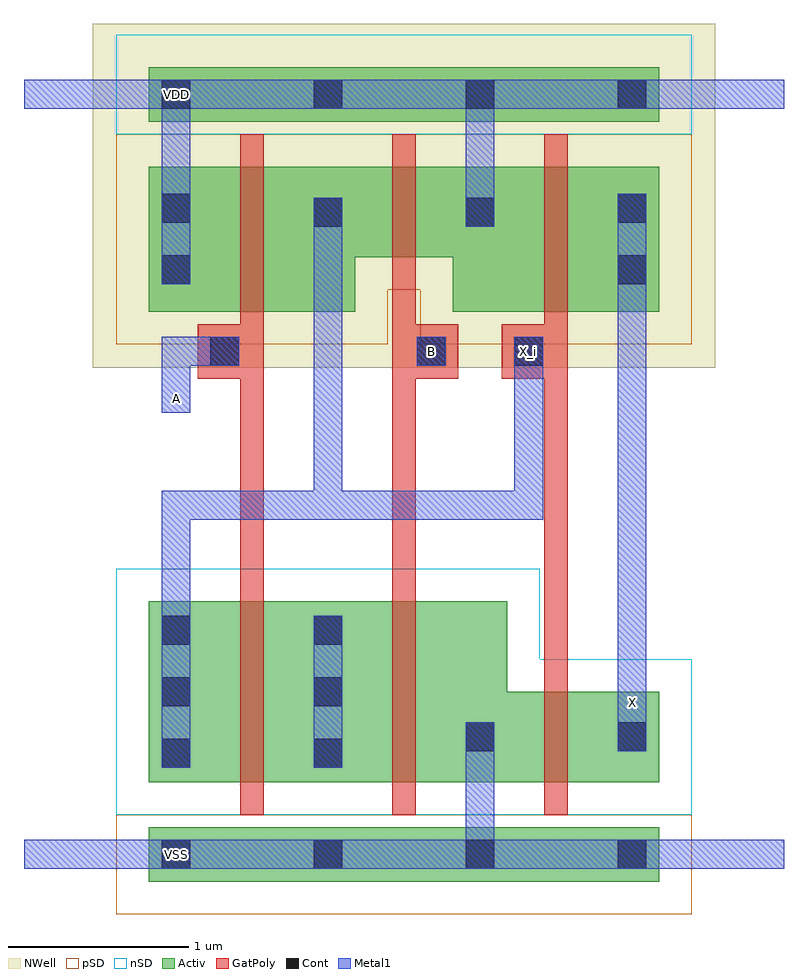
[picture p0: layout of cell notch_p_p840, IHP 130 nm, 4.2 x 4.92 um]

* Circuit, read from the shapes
.subckt notch_p_p840 A B VDD VSS X X_i
XM1 n1 A X_i VSS sg13_lv_nmos w=1u l=0.13u
XM2 VSS B n1 VSS sg13_lv_nmos w=1u l=0.13u
XM3 X X_i VSS VSS sg13_lv_nmos w=0.5u l=0.13u
XM4 X_i A VDD VDD sg13_lv_pmos w=0.8u l=0.13u
XM5 VDD B X_i VDD sg13_lv_pmos w=0.5u l=0.13u
XM6 X X_i VDD VDD sg13_lv_pmos w=0.8u l=0.13u
.ends

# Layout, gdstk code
import gdstk
lib = gdstk.Library(unit=1e-6, precision=1e-09)
def R(c, l, rs):  # rectangles x0, y0, x1, y1
    for r in rs: c.add(gdstk.rectangle(r[:2], r[2:], *l))
def A(c, l, x, y, w, h, nx, ny, dx, dy):  # array of equal rectangles
    R(c, l, [(x+i*dx, y+j*dy, x+i*dx+w, y+j*dy+h) for i in range(nx) for j in range(ny)])
Activ = (1, 0)
GatPoly = (5, 0)
Cont = (6, 0)
nSD = (7, 0)
Metal1 = (8, 0)
pSD = (14, 0)
NWell = (31, 0)

notch_p_p840 = lib.new_cell('notch_p_p840')
R(notch_p_p840, Activ, [(0.69,-0.15,3.51,0.15), (0.69,0.4,2.67,1.4), (2.37,0.4,3.51,0.9), (0.69,3,1.83,3.8), (2.37,3,3.51,3.8), (1.53,3.3,2.67,3.8), (0.69,4.05,3.51,4.35)])
A(notch_p_p840, GatPoly, 1.195, 0.22, 0.13, 3.76, 3, 1, 0.84, 0)
R(notch_p_p840, GatPoly, [(0.96,2.63,1.325,2.93), (2.035,2.63,2.4,2.93), (2.64,2.63,3.005,2.93)])
A(notch_p_p840, Cont, 0.76, -0.08, 0.16, 0.16, 4, 2, 0.84, 4.2)
A(notch_p_p840, Cont, 0.76, 0.48, 0.16, 0.16, 1, 3, 0, 0.34)
A(notch_p_p840, Cont, 1.6, 0.48, 0.16, 0.16, 1, 3, 0, 0.34)
R(notch_p_p840, Cont, [(2.44,0.57,2.6,0.73), (3.28,0.57,3.44,0.73), (1.03,2.7,1.19,2.86), (2.17,2.7,2.33,2.86), (2.71,2.7,2.87,2.86), (0.76,3.15,0.92,3.31), (3.28,3.15,3.44,3.31), (1.6,3.47,1.76,3.63), (2.44,3.47,2.6,3.63), (0.76,3.49,0.92,3.65), (3.28,3.49,3.44,3.65)])
R(notch_p_p840, nSD, [(0.51,0.22,2.85,1.58), (2.19,0.22,3.69,1.08), (0.51,3.98,3.69,4.53)])
R(notch_p_p840, Metal1, [(0,-0.08,4.2,0.08), (0.76,-0.08,3.44,0.08), (2.44,-0.08,2.6,0.73), (0.76,0.48,0.92,2.01), (1.6,0.48,1.76,1.32), (3.28,0.57,3.44,1.67), (3.28,1.51,3.44,1.67), (3.28,1.51,3.44,3.65), (0.76,1.85,1.76,2.01), (0.76,1.85,2.87,2.01), (1.6,1.85,1.76,3.63), (2.71,1.85,2.87,2.86), (0.76,2.44,0.92,2.86), (0.76,2.7,1.19,2.86), (2.17,2.7,2.33,2.86), (2.71,2.7,2.87,2.86), (0.76,3.15,0.92,4.28), (2.44,3.47,2.6,4.28), (0,4.12,4.2,4.28), (0.76,4.12,3.44,4.28)])
R(notch_p_p840, pSD, [(0.51,-0.33,3.69,0.22), (0.51,2.82,2.01,3.98), (2.19,2.82,3.69,3.98), (1.35,3.12,2.85,3.98)])
R(notch_p_p840, NWell, [(0.38,2.69,2.14,4.59), (2.06,2.69,3.82,4.59), (1.22,2.99,2.98,4.59)])
notch_p_p840.add(gdstk.Label('VSS', (0.84,0), layer=8, texttype=25))
notch_p_p840.add(gdstk.Label('A', (0.84,2.52), layer=8, texttype=25))
notch_p_p840.add(gdstk.Label('VDD', (0.84,4.2), layer=8, texttype=25))
notch_p_p840.add(gdstk.Label('B', (2.25,2.78), layer=8, texttype=25))
notch_p_p840.add(gdstk.Label('X_i', (2.79,2.78), layer=8, texttype=25))
notch_p_p840.add(gdstk.Label('X', (3.36,0.84), layer=8, texttype=25))

lib.write_gds('notch_p_p840.gds')
